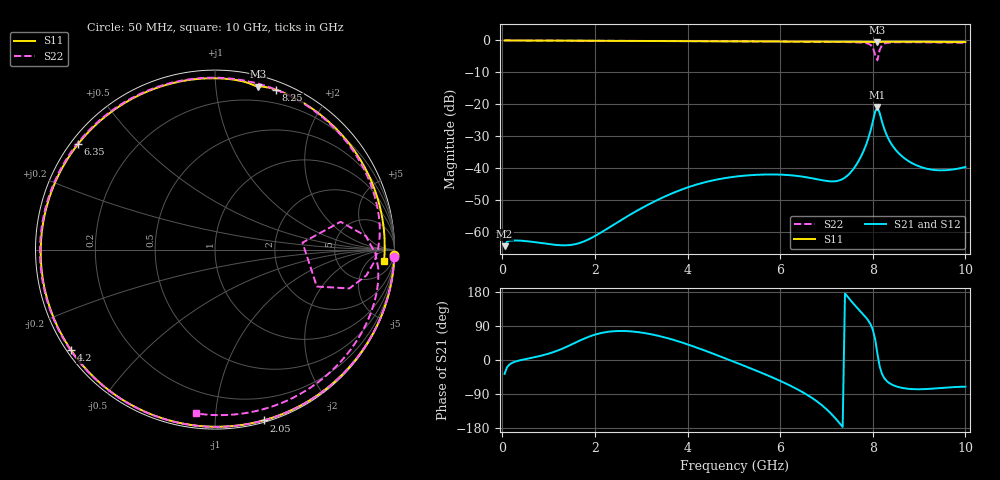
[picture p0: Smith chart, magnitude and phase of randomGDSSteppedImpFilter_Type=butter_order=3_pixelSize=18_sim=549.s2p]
! freq	dB(S11)	phase(S11)	dB(S12)	phase(S12)
!  dB(S21)	phase(S21)	dB(S22)	phase(S22)
!S-par simulation data
#  GHz  S  DB  R 50
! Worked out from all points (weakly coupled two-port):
!   200 points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, 50 MHz to 10 GHz, reference 50 ohm
!   highest |S21| = -20.93 dB at 8.1 GHz (marker M1); lowest = -64.4 dB at 50 MHz (marker M2)
!   lowest |S11| = -0.5 dB at 8.1 GHz (marker M3), VSWR 31.77, Z = 4.22 + j64.7 ohm
!   |S11| at or under -10 dB: nowhere
!   |S22| runs from -6.2 to 0.0 dB; largest |S21 - S12| = 0
!   S11 on the Smith chart (normalised r, x): 50 MHz: 0, -61; 2.05 GHz: 0.01, -1.32; 4.2 GHz: 0.01, -0.31; 6.35 GHz: 0.02, +0.34; 8.25 GHz: 0.07, +1.45; 10 GHz: 15, -17
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0.05  -0.00 -1.9  -64.42 -36.7  -64.42 -36.7  -0.00 -2.4
0.95  -0.04 -35.2  -63.65 15.0  -63.65 15.0  -0.05 -44.0
1.75  -0.08 -63.7  -63.02 55.5  -63.02 55.5  -0.10 -79.0
2.05  -0.09 -74.1  -60.84 68.7  -60.84 68.7  -0.11 -91.5
3.4  -0.15 -119.2  -49.61 62.9  -49.61 62.9  -0.17 -144.7
4.2  -0.19 -145.1  -45.11 32.7  -45.11 32.7  -0.21 -175.7
5.05  -0.24 -172.8  -42.61 -6.9  -42.61 -6.9  -0.27 149.6
5.75  -0.29 163.6  -41.96 -41.6  -41.96 -41.6  -0.33 118.3
6.35  -0.33 142.5  -42.39 -75.9  -42.39 -75.9  -0.38 88.6
6.7  -0.35 129.7  -43.19 -101.1  -43.19 -101.1  -0.41 70.1
7.2  -0.37 110.7  -44.08 -154.9  -44.08 -154.9  -0.46 42.1
7.5  -0.39 98.9  -41.68 160.5  -41.68 160.5  -0.52 24.3
7.8  -0.41 86.8  -34.66 119.5  -34.66 119.5  -0.73 4.3
8  -0.48 78.5  -25.47 80.3  -25.47 80.3  -2.17 -16.1
8.05  -0.53 76.7  -22.34 55.8  -22.34 55.8  -4.39 -19.9
8.1  -0.55 75.2  -20.93 17.0  -20.93 17.0  -6.21 4.6
8.15  -0.48 73.5  -22.78 -17.5  -22.78 -17.5  -2.90 12.5
8.25  -0.42 69.1  -27.77 -48.1  -27.77 -48.1  -0.98 -1.3
8.35  -0.41 64.9  -31.12 -60.3  -31.12 -60.3  -0.67 -10.8
8.65  -0.41 52.3  -36.51 -74.0  -36.51 -74.0  -0.55 -30.6
9.1  -0.43 33.6  -39.91 -76.9  -39.91 -76.9  -0.58 -54.6
10  -0.50 -3.7  -39.62 -70.4  -39.62 -70.4  -0.74 -96.6
